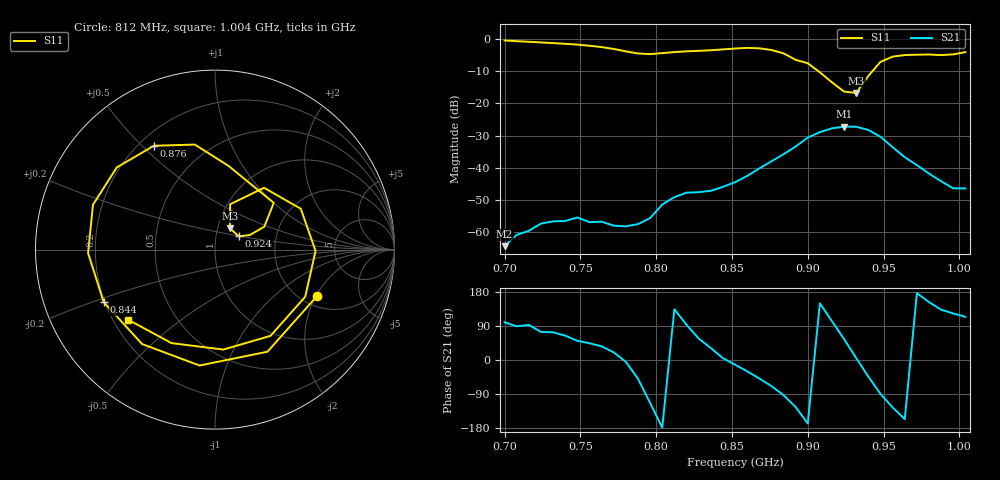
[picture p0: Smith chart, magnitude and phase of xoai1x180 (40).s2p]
# Hz S RI R 50
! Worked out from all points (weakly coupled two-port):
!   39 points, 700 MHz to 1.004 GHz, reference 50 ohm
!   highest |S21| = -27.23 dB at 924 MHz (marker M1); lowest = -64.3 dB at 700 MHz (marker M2)
!   lowest |S11| = -16.8 dB at 932 MHz (marker M3), VSWR 1.34, Z = 57.2 + j13.9 ohm
!   |S11| at or under -10 dB: 906.9 MHz to 942.7 MHz (35.81 MHz wide, 3.87 % of centre)
!   S12 and S22 are empty: the file has one direction only
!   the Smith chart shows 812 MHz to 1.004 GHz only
!   S11 on the Smith chart (normalised r, x): 812 MHz: 2.40, -2.04; 844 MHz: 0.20, -0.22; 876 MHz: 0.26, +0.54; 924 MHz: 1.29, +0.20; 1.004 GHz: 0.26, -0.33
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7e8  0.7627 0.5559  -0.000102 0.0006  0 0  0 0
7.24e8  0.8433 -0.2505  0.000375 0.00131  0 0  0 0
7.4e8  0.4585 -0.7001  0.000649 0.00135  0 0  0 0
7.56e8  -0.1878 -0.759  0.00103 0.000999  0 0  0 0
7.72e8  -0.6652 -0.2066  0.00119 0.000435  0 0  0 0
7.8e8  -0.6017 0.2158  0.00123 -0.000101  0 0  0 0
7.88e8  -0.261 0.5322  0.000866 -0.00102  0 0  0 0
7.96e8  0.2233 0.535  -0.000661 -0.00153  0 0  0 0
8.04e8  0.5664 0.1975  -0.00269 -7.83e-05  0 0  0 0
8.12e8  0.5672 -0.2601  -0.00244 0.00252  0 0  0 0
8.28e8  -0.0861 -0.6458  0.00229 0.0035  0 0  0 0
8.44e8  -0.6203 -0.2922  0.00504 0.000428  0 0  0 0
8.52e8  -0.7071 -0.019  0.00584 -0.00128  0 0  0 0
8.76e8  -0.3409 0.5785  0.00457 -0.0117  0 0  0 0
9e8  0.3274 0.2606  -0.0287 -0.00641  0 0  0 0
9.08e8  0.2746 0.1276  -0.0308 0.0181  0 0  0 0
9.24e8  0.1326 0.0743  0.025 0.0356  0 0  0 0
9.32e8  0.0825 0.1188  0.0432 0.00376  0 0  0 0
9.48e8  0.2731 0.3443  0.000303 -0.0302  0 0  0 0
9.56e8  0.478 0.2276  -0.012 -0.017  0 0  0 0
9.8e8  0.3094 -0.4805  -0.00722 0.00372  0 0  0 0
1.004e9  -0.4849 -0.3901  -0.00195 0.00437  0 0  0 0
